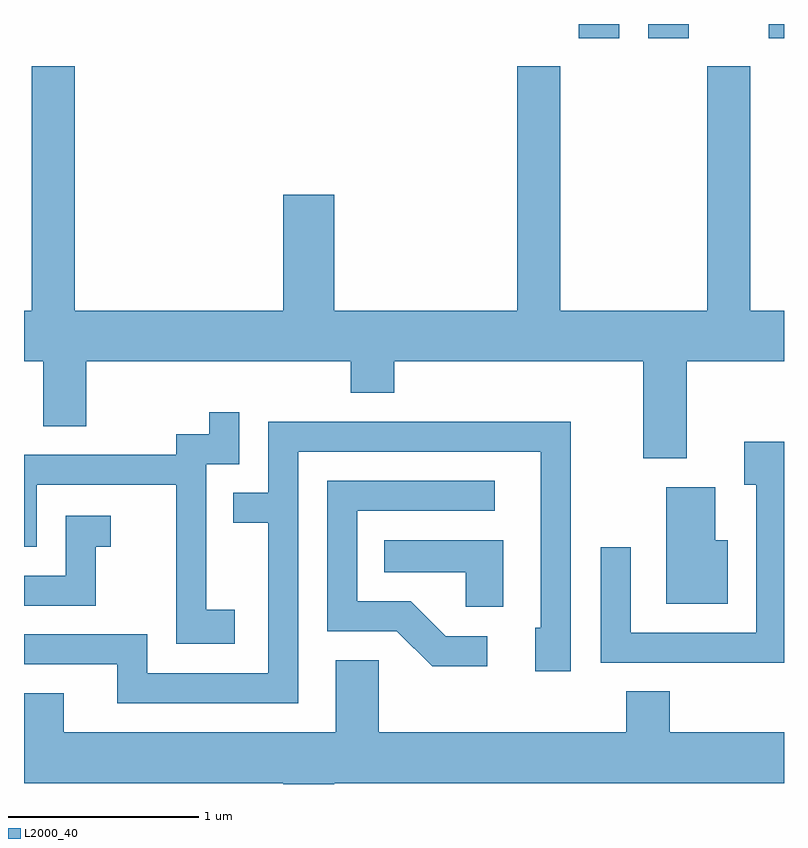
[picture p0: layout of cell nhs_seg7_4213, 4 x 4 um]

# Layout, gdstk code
import gdstk
lib = gdstk.Library(unit=1e-6, precision=1e-09)
def R(c, l, rs):  # rectangles x0, y0, x1, y1
    for r in rs: c.add(gdstk.rectangle(r[:2], r[2:], *l))
def P(c, l, *ps):  # polygons
    for p in ps: c.add(gdstk.Polygon(p, *l))
L2000_40 = (2000, 40)

nhs_seg7_4213 = lib.new_cell('nhs_seg7_4213')
R(nhs_seg7_4213, L2000_40, [(316.531,1778.176,316.744,1778.252), (316.896,1778.176,317.109,1778.252), (317.531,1778.176,317.611,1778.252)])
P(nhs_seg7_4213, L2000_40, [(317.099,1776.476),(317.611,1776.476),(317.611,1776.744),(317.434,1776.744),(317.434,1778.029),(317.206,1778.029),(317.206,1776.744),(316.434,1776.744),(316.434,1778.029),(316.206,1778.029),(316.206,1776.744),(315.244,1776.744),(315.244,1777.354),(314.976,1777.354),(314.976,1776.744),(313.879,1776.744),(313.879,1778.029),(313.651,1778.029),(313.651,1776.744),(313.611,1776.744),(313.611,1776.476),(313.711,1776.476),(313.711,1776.136),(313.939,1776.136),(313.939,1776.476),(315.331,1776.476),(315.331,1776.311),(315.559,1776.311),(315.559,1776.476),(316.871,1776.476),(316.871,1775.966),(317.099,1775.966)],
  [(314.719,1775.169),(314.569,1775.169),(314.569,1775.936),(314.744,1775.936),(314.744,1776.208),(314.586,1776.208),(314.586,1776.094),(314.411,1776.094),(314.411,1775.984),(313.611,1775.984),(313.611,1775.501),(313.679,1775.501),(313.679,1775.826),(314.411,1775.826),(314.411,1774.991),(314.719,1774.991)],
  [(315.054,1776.001),(316.331,1776.001),(316.331,1775.074),(316.301,1775.074),(316.301,1774.846),(316.489,1774.846),(316.489,1776.159),(314.896,1776.159),(314.896,1775.784),(314.713,1775.784),(314.713,1775.626),(314.896,1775.626),(314.896,1774.834),(314.259,1774.834),(314.259,1775.039),(313.611,1775.039),(313.611,1774.881),(314.101,1774.881),(314.101,1774.676),(315.054,1774.676)],
  [(317.611,1776.054),(317.401,1776.054),(317.401,1775.826),(317.466,1775.826),(317.466,1775.049),(316.804,1775.049),(316.804,1775.498),(316.646,1775.498),(316.646,1774.891),(317.611,1774.891)],
  [(316.048,1775.029),(315.832,1775.029),(315.647,1775.214),(315.364,1775.214),(315.364,1775.691),(316.088,1775.691),(316.088,1775.849),(315.206,1775.849),(315.206,1775.056),(315.574,1775.056),(315.759,1774.871),(316.048,1774.871)],
  [(317.314,1775.534),(317.249,1775.534),(317.249,1775.814),(316.991,1775.814),(316.991,1775.201),(317.314,1775.201)],
  [(313.989,1775.501),(314.068,1775.501),(314.068,1775.664),(313.831,1775.664),(313.831,1775.349),(313.611,1775.349),(313.611,1775.191),(313.989,1775.191)],
  [(316.134,1775.534),(315.508,1775.534),(315.508,1775.366),(315.936,1775.366),(315.936,1775.186),(316.134,1775.186)],
  [(315.244,1774.256),(317.611,1774.256),(317.611,1774.524),(317.009,1774.524),(317.009,1774.739),(316.781,1774.739),(316.781,1774.524),(315.479,1774.524),(315.479,1774.904),(315.251,1774.904),(315.251,1774.524),(313.819,1774.524),(313.819,1774.729),(313.611,1774.729),(313.611,1774.256),(314.976,1774.256),(314.976,1774.252),(315.244,1774.252)])

lib.write_gds('nhs_seg7_4213.gds')
